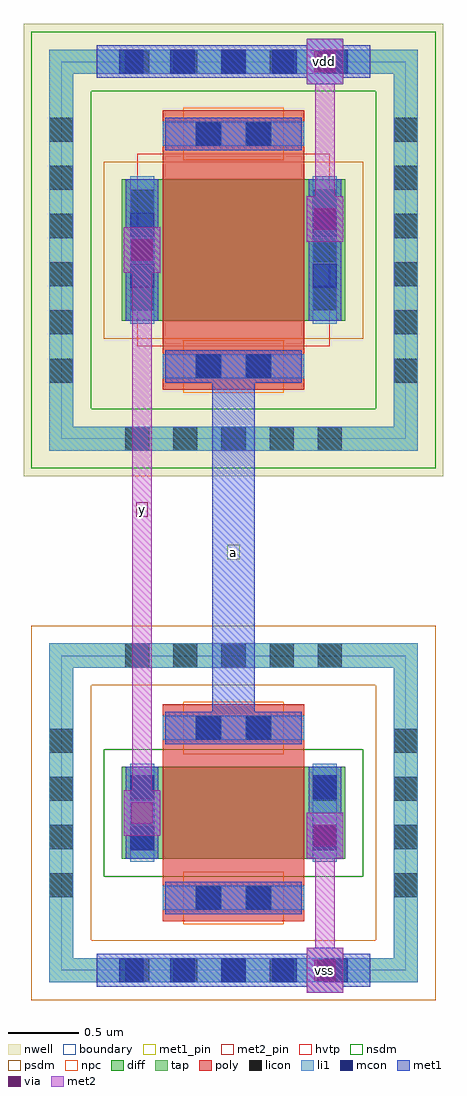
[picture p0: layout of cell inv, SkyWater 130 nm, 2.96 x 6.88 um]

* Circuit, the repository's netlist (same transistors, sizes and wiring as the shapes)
* SPDX-License-Identifier: Apache-2.0
* Copyright 2026 Mauro Rodriguez Blasco
*
* The encoder's inverter, drawn like a standard cell: the PMOS (high Vt, 1 x 1 um) above the
* NMOS (0.65 x 1 um), each in its generated ring, the PMOS ring's top as the vdd rail and the
* NMOS ring's bottom as the vss rail. Reference for LVS (scripts/flow.py lvs inv).
.subckt inv a y vdd vss
XP y a vdd vdd sky130_fd_pr__pfet_01v8_hvt w=1 l=1
XN y a vss vss sky130_fd_pr__nfet_01v8 w=0.65 l=1
.ends inv

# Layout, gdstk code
import gdstk
lib = gdstk.Library(unit=1e-6, precision=1e-09)
def R(c, l, rs):  # rectangles x0, y0, x1, y1
    for r in rs: c.add(gdstk.rectangle(r[:2], r[2:], *l))
def A(c, l, x, y, w, h, nx, ny, dx, dy):  # array of equal rectangles
    R(c, l, [(x+i*dx, y+j*dy, x+i*dx+w, y+j*dy+h) for i in range(nx) for j in range(ny)])
nwell = (64, 20)
diff = (65, 20)
tap = (65, 44)
poly = (66, 20)
licon = (66, 44)
li1 = (67, 20)
mcon = (67, 44)
met1_pin = (68, 16)
met1 = (68, 20)
via = (68, 44)
met2_pin = (69, 16)
met2 = (69, 20)
hvtp = (78, 44)
nsdm = (93, 44)
psdm = (94, 20)
npc = (95, 20)
boundary = (235, 4)

sky130_fd_pr__pfet_01v8_ = lib.new_cell('sky130_fd_pr__pfet_01v8_hvt_SLA84M')
R(sky130_fd_pr__pfet_01v8_, nwell, [(-1.48,-1.595,1.48,1.595)])
R(sky130_fd_pr__pfet_01v8_, diff, [(-0.79,-0.5,0.79,0.5)])
R(sky130_fd_pr__pfet_01v8_, tap, [(-1.3,-1.415,1.3,-1.245), (-1.3,-1.245,-1.13,1.245), (1.13,-1.245,1.3,1.245), (-1.3,1.245,1.3,1.415)])
R(sky130_fd_pr__pfet_01v8_, poly, [(-0.5,-0.985,0.5,0.985)])
A(sky130_fd_pr__pfet_01v8_, licon, -0.765, -1.415, 0.17, 0.17, 5, 2, 0.34, 2.66)
A(sky130_fd_pr__pfet_01v8_, licon, -1.3, -0.935, 0.17, 0.17, 1, 6, 0, 0.34)
A(sky130_fd_pr__pfet_01v8_, licon, 1.13, -0.935, 0.17, 0.17, 1, 6, 0, 0.34)
A(sky130_fd_pr__pfet_01v8_, licon, -0.73, -0.425, 0.17, 0.17, 1, 3, 0, 0.34)
A(sky130_fd_pr__pfet_01v8_, licon, 0.56, -0.425, 0.17, 0.17, 1, 3, 0, 0.34)
R(sky130_fd_pr__pfet_01v8_, licon, [(-0.255,-0.905,-0.085,-0.735), (0.085,-0.905,0.255,-0.735), (-0.255,0.735,-0.085,0.905), (0.085,0.735,0.255,0.905)])
R(sky130_fd_pr__pfet_01v8_, li1, [(-1.3,-1.415,1.3,-1.245), (-1.3,-1.245,-1.13,1.245), (1.13,-1.245,1.3,1.245), (-0.5,-0.905,0.5,-0.735), (-0.73,-0.52,-0.56,0.52), (0.56,-0.52,0.73,0.52), (-0.5,0.735,0.5,0.905), (-1.3,1.245,1.3,1.415)])
A(sky130_fd_pr__pfet_01v8_, mcon, -0.805, 1.245, 0.17, 0.17, 5, 1, 0.36, 0)
R(sky130_fd_pr__pfet_01v8_, mcon, [(-0.265,-0.905,-0.095,-0.735), (0.095,-0.905,0.265,-0.735), (-0.73,-0.265,-0.56,-0.095), (0.56,-0.265,0.73,-0.095), (-0.73,0.095,-0.56,0.265), (0.56,0.095,0.73,0.265), (-0.265,0.735,-0.095,0.905), (0.095,0.735,0.265,0.905)])
R(sky130_fd_pr__pfet_01v8_, met1, [(-0.48,-0.935,0.48,-0.705), (-0.76,-0.5,-0.53,0.5), (0.53,-0.5,0.76,0.5), (-0.48,0.705,0.48,0.935), (-0.965,1.215,0.965,1.445)])
R(sky130_fd_pr__pfet_01v8_, hvtp, [(-0.68,-0.68,0.68,0.68)])
R(sky130_fd_pr__pfet_01v8_, nsdm, [(-1.425,-1.54,1.425,-1.12), (-1.425,-1.12,-1.005,1.12), (1.005,-1.12,1.425,1.12), (-1.425,1.12,1.425,1.54)])
R(sky130_fd_pr__pfet_01v8_, psdm, [(-0.915,-0.625,0.915,0.625)])
R(sky130_fd_pr__pfet_01v8_, npc, [(-0.355,-1.005,0.355,-0.635), (-0.355,0.635,0.355,1.005)])
R(sky130_fd_pr__pfet_01v8_, boundary, [(-1.215,-1.33,1.215,1.33)])
sky130_fd_pr__pfet_01v8_.add(gdstk.Label('B', (0,-1.33), layer=67, texttype=5))
sky130_fd_pr__pfet_01v8_.add(gdstk.Label('D', (-0.645,0), layer=67, texttype=5))
sky130_fd_pr__pfet_01v8_.add(gdstk.Label('S', (0.645,0), layer=67, texttype=5))
sky130_fd_pr__pfet_01v8_.add(gdstk.Label('G', (0,0.82), layer=67, texttype=5))

sky130_fd_pr__nfet_01v8_ = lib.new_cell('sky130_fd_pr__nfet_01v8_APJKA6')
R(sky130_fd_pr__nfet_01v8_, diff, [(-0.79,-0.325,0.79,0.325)])
R(sky130_fd_pr__nfet_01v8_, tap, [(-1.3,-1.195,1.3,-1.025), (-1.3,-1.025,-1.13,1.025), (1.13,-1.025,1.3,1.025), (-1.3,1.025,1.3,1.195)])
R(sky130_fd_pr__nfet_01v8_, poly, [(-0.5,-0.765,0.5,0.765)])
A(sky130_fd_pr__nfet_01v8_, licon, -0.765, -1.195, 0.17, 0.17, 5, 2, 0.34, 2.22)
A(sky130_fd_pr__nfet_01v8_, licon, -1.3, -0.595, 0.17, 0.17, 1, 4, 0, 0.34)
A(sky130_fd_pr__nfet_01v8_, licon, 1.13, -0.595, 0.17, 0.17, 1, 4, 0, 0.34)
R(sky130_fd_pr__nfet_01v8_, licon, [(-0.255,-0.685,-0.085,-0.515), (0.085,-0.685,0.255,-0.515), (-0.73,-0.255,-0.56,-0.085), (0.56,-0.255,0.73,-0.085), (-0.73,0.085,-0.56,0.255), (0.56,0.085,0.73,0.255), (-0.255,0.515,-0.085,0.685), (0.085,0.515,0.255,0.685)])
R(sky130_fd_pr__nfet_01v8_, li1, [(-1.3,-1.195,1.3,-1.025), (-1.3,-1.025,-1.13,1.025), (1.13,-1.025,1.3,1.025), (-0.5,-0.685,0.5,-0.515), (-0.73,-0.345,-0.56,0.345), (0.56,-0.345,0.73,0.345), (-0.5,0.515,0.5,0.685), (-1.3,1.025,1.3,1.195)])
A(sky130_fd_pr__nfet_01v8_, mcon, -0.805, -1.195, 0.17, 0.17, 5, 1, 0.36, 0)
R(sky130_fd_pr__nfet_01v8_, mcon, [(-0.265,-0.685,-0.095,-0.515), (0.095,-0.685,0.265,-0.515), (-0.73,-0.265,-0.56,-0.095), (0.56,-0.265,0.73,-0.095), (-0.73,0.095,-0.56,0.265), (0.56,0.095,0.73,0.265), (-0.265,0.515,-0.095,0.685), (0.095,0.515,0.265,0.685)])
R(sky130_fd_pr__nfet_01v8_, met1, [(-0.965,-1.225,0.965,-0.995), (-0.48,-0.715,0.48,-0.485), (-0.76,-0.325,-0.53,0.325), (0.53,-0.325,0.76,0.325), (-0.48,0.485,0.48,0.715)])
R(sky130_fd_pr__nfet_01v8_, nsdm, [(-0.915,-0.45,0.915,0.45)])
R(sky130_fd_pr__nfet_01v8_, psdm, [(-1.425,-1.32,1.425,-0.9), (-1.425,-0.9,-1.005,0.9), (1.005,-0.9,1.425,0.9), (-1.425,0.9,1.425,1.32)])
R(sky130_fd_pr__nfet_01v8_, npc, [(-0.355,-0.785,0.355,-0.415), (-0.355,0.415,0.355,0.785)])
R(sky130_fd_pr__nfet_01v8_, boundary, [(-1.215,-1.11,1.215,1.11)])
sky130_fd_pr__nfet_01v8_.add(gdstk.Label('B', (0,-1.11), layer=67, texttype=5))
sky130_fd_pr__nfet_01v8_.add(gdstk.Label('D', (-0.645,0), layer=67, texttype=5))
sky130_fd_pr__nfet_01v8_.add(gdstk.Label('S', (0.645,0), layer=67, texttype=5))
sky130_fd_pr__nfet_01v8_.add(gdstk.Label('G', (0,0.6), layer=67, texttype=5))

inv = lib.new_cell('inv')
R(inv, met1_pin, [(1.17,2.9,1.26,3)])
R(inv, met1, [(1.73,-0.16,1.99,0.16), (1.73,0.79,1.99,1.11), (0.44,0.95,0.7,1.27), (1.065,1.625,1.365,4.345), (0.44,4.92,0.7,5.24), (1.73,5.14,1.99,5.46), (1.73,6.25,1.99,6.57)])
R(inv, via, [(1.785,-0.075,1.935,0.075), (1.785,0.875,1.935,1.025), (0.495,1.035,0.645,1.185), (0.495,5.005,0.645,5.155), (1.785,5.225,1.935,5.375), (1.785,6.335,1.935,6.485)])
R(inv, met2_pin, [(1.82,-0.04,1.9,0.04), (0.53,3.2,0.61,3.3), (1.82,6.37,1.9,6.45)])
R(inv, met2, [(1.73,-0.16,1.99,0.16), (1.79,0.16,1.93,0.79), (1.73,0.79,1.99,1.11), (0.44,0.95,0.7,1.27), (0.5,1.27,0.64,4.92), (0.44,4.92,0.7,5.24), (1.73,5.14,1.99,5.46), (1.79,5.46,1.93,6.25), (1.73,6.25,1.99,6.57)])
inv.add(gdstk.Reference(sky130_fd_pr__pfet_01v8_, (1.215,5.08)))
inv.add(gdstk.Reference(sky130_fd_pr__nfet_01v8_, (1.215,1.11)))
inv.add(gdstk.Label('a', (1.215,2.95), layer=68, texttype=5))
inv.add(gdstk.Label('y', (0.57,3.25), layer=69, texttype=5))
inv.add(gdstk.Label('vdd', (1.86,6.41), layer=69, texttype=5))
inv.add(gdstk.Label('vss', (1.86,0), layer=69, texttype=5))

lib.write_gds('inv.gds')
